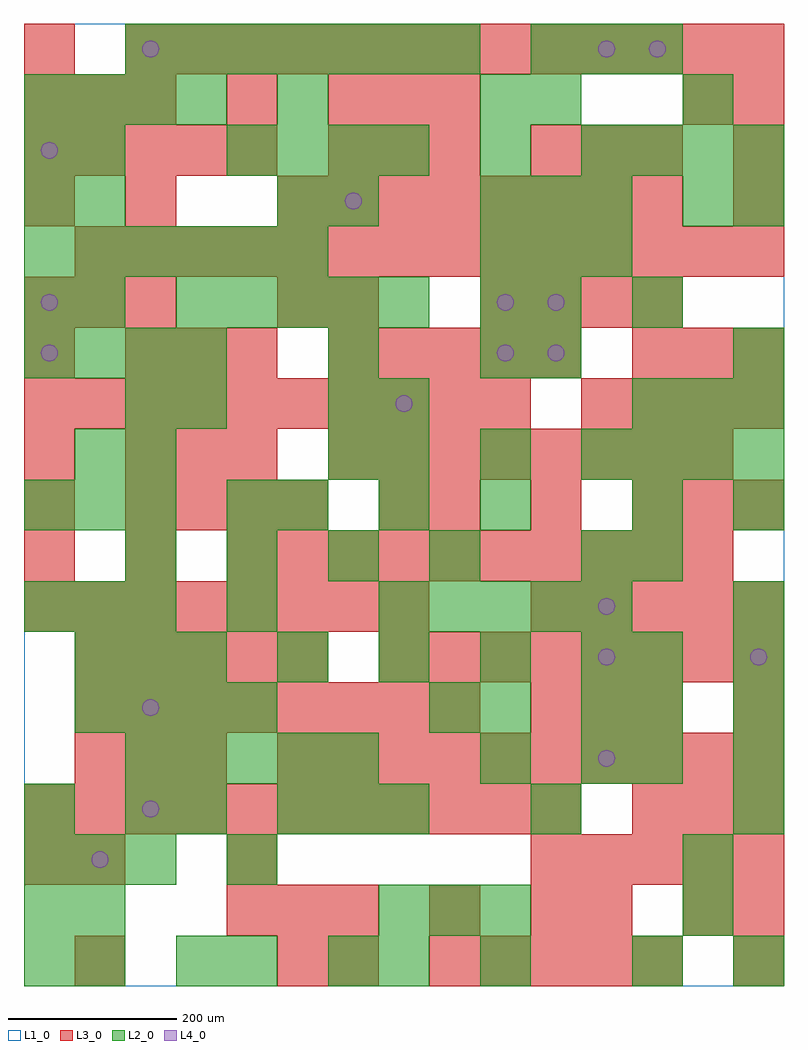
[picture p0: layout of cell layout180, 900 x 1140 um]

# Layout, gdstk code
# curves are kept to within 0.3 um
import gdstk
lib = gdstk.Library(unit=1e-6, precision=1e-09)
def R(c, l, rs):  # rectangles x0, y0, x1, y1
    for r in rs: c.add(gdstk.rectangle(r[:2], r[2:], *l))
def A(c, l, x, y, w, h, nx, ny, dx, dy):  # array of equal rectangles
    R(c, l, [(x+i*dx, y+j*dy, x+i*dx+w, y+j*dy+h) for i in range(nx) for j in range(ny)])
def P(c, l, *ps):  # polygons
    for p in ps: c.add(gdstk.Polygon(p, *l))
L1_0 = (1, 0)
L2_0 = (2, 0)
L3_0 = (3, 0)
L4_0 = (4, 0)

layout180 = lib.new_cell('layout180')
R(layout180, L1_0, [(0,0,900,1140)])
A(layout180, L2_0, 420, 60, 60, 60, 3, 1, 60, 0)
A(layout180, L2_0, 0, 120, 60, 60, 3, 2, 60, 300)
A(layout180, L2_0, 300, 180, 60, 60, 3, 1, 60, 0)
A(layout180, L2_0, 840, 180, 60, 60, 1, 5, 0, 60)
A(layout180, L2_0, 120, 240, 60, 60, 5, 1, 60, 0)
A(layout180, L2_0, 720, 240, 60, 60, 1, 3, 0, 60)
A(layout180, L2_0, 60, 300, 60, 60, 4, 1, 60, 0)
A(layout180, L2_0, 60, 360, 60, 60, 3, 1, 60, 0)
A(layout180, L2_0, 300, 360, 60, 60, 4, 1, 120, 0)
A(layout180, L2_0, 420, 420, 60, 60, 5, 1, 60, 0)
A(layout180, L2_0, 120, 480, 60, 60, 4, 1, 120, 0)
A(layout180, L2_0, 0, 540, 60, 60, 3, 1, 60, 0)
A(layout180, L2_0, 300, 540, 60, 60, 3, 1, 120, 0)
A(layout180, L2_0, 840, 540, 60, 60, 1, 3, 0, 180)
A(layout180, L2_0, 360, 600, 60, 60, 1, 3, 0, 60)
A(layout180, L2_0, 420, 600, 60, 60, 3, 1, 120, 0)
A(layout180, L2_0, 720, 600, 60, 60, 3, 2, 60, 60)
A(layout180, L2_0, 0, 720, 60, 60, 4, 2, 60, 300)
A(layout180, L2_0, 180, 780, 60, 60, 5, 1, 60, 0)
A(layout180, L2_0, 0, 840, 60, 60, 6, 1, 60, 0)
A(layout180, L2_0, 540, 840, 60, 60, 3, 2, 60, 60)
A(layout180, L2_0, 240, 960, 60, 60, 4, 1, 60, 0)
A(layout180, L2_0, 660, 960, 60, 60, 4, 1, 60, 0)
A(layout180, L2_0, 120, 1080, 60, 60, 7, 1, 60, 0)
A(layout180, L2_0, 600, 1080, 60, 60, 3, 1, 60, 0)
R(layout180, L2_0, [(0,0,60,60), (60,0,120,60), (180,0,240,60), (240,0,300,60), (360,0,420,60), (420,0,480,60), (540,0,600,60), (720,0,780,60), (840,0,900,60), (0,60,60,120), (60,60,120,120), (780,60,840,120), (240,120,300,180), (780,120,840,180), (0,180,60,240), (120,180,180,240), (180,180,240,240), (600,180,660,240), (540,240,600,300), (660,240,720,300), (480,300,540,360), (540,300,600,360), (660,300,720,360), (240,420,300,480), (660,480,720,540), (720,480,780,540), (240,540,300,600), (720,540,780,600), (60,600,120,660), (120,600,180,660), (120,660,180,720), (180,660,240,720), (420,660,480,720), (540,720,600,780), (600,720,660,780), (0,780,60,840), (60,780,120,840), (540,780,600,840), (600,780,660,840), (720,780,780,840), (0,900,60,960), (60,900,120,960), (300,900,360,960), (360,900,420,960), (780,900,840,960), (0,960,60,1020), (60,960,120,1020), (540,960,600,1020), (300,1020,360,1080), (540,1020,600,1080), (600,1020,660,1080), (780,1020,840,1080)])
A(layout180, L3_0, 480, 0, 60, 60, 5, 1, 60, 0)
A(layout180, L3_0, 240, 60, 60, 60, 3, 1, 60, 0)
A(layout180, L3_0, 780, 60, 60, 60, 1, 3, 0, 480)
A(layout180, L3_0, 840, 60, 60, 60, 1, 3, 0, 240)
A(layout180, L3_0, 600, 120, 60, 60, 5, 2, 60, 300)
A(layout180, L3_0, 0, 180, 60, 60, 11, 1, 60, 0)
A(layout180, L3_0, 720, 180, 60, 60, 3, 2, 60, 540)
A(layout180, L3_0, 60, 240, 60, 60, 3, 1, 60, 0)
A(layout180, L3_0, 300, 240, 60, 60, 10, 1, 60, 0)
A(layout180, L3_0, 60, 300, 60, 60, 8, 1, 60, 0)
A(layout180, L3_0, 600, 300, 60, 60, 3, 2, 60, 660)
A(layout180, L3_0, 60, 360, 60, 60, 5, 1, 60, 0)
A(layout180, L3_0, 420, 360, 60, 60, 8, 1, 60, 0)
A(layout180, L3_0, 0, 420, 60, 60, 8, 1, 60, 0)
A(layout180, L3_0, 0, 480, 60, 60, 3, 1, 120, 0)
A(layout180, L3_0, 300, 480, 60, 60, 9, 1, 60, 0)
A(layout180, L3_0, 120, 540, 60, 60, 4, 1, 60, 0)
A(layout180, L3_0, 480, 540, 60, 60, 3, 1, 120, 0)
A(layout180, L3_0, 120, 600, 60, 60, 3, 2, 60, 120)
A(layout180, L3_0, 360, 600, 60, 60, 8, 1, 60, 0)
A(layout180, L3_0, 0, 660, 60, 60, 10, 1, 60, 0)
A(layout180, L3_0, 660, 660, 60, 60, 4, 1, 60, 0)
A(layout180, L3_0, 0, 720, 60, 60, 1, 3, 0, 180)
A(layout180, L3_0, 360, 720, 60, 60, 5, 1, 60, 0)
A(layout180, L3_0, 0, 780, 60, 60, 3, 2, 60, 240)
A(layout180, L3_0, 540, 780, 60, 60, 4, 1, 60, 0)
A(layout180, L3_0, 60, 840, 60, 60, 14, 1, 60, 0)
A(layout180, L3_0, 300, 900, 60, 60, 8, 1, 60, 0)
A(layout180, L3_0, 840, 900, 60, 60, 1, 3, 0, 60)
A(layout180, L3_0, 0, 960, 60, 60, 5, 1, 60, 0)
A(layout180, L3_0, 360, 960, 60, 60, 3, 2, 60, 60)
A(layout180, L3_0, 120, 1080, 60, 60, 13, 1, 60, 0)
R(layout180, L3_0, [(60,0,120,60), (300,0,360,60), (360,0,420,60), (840,0,900,60), (480,60,540,120), (600,60,660,120), (660,60,720,120), (0,120,60,180), (60,120,120,180), (240,120,300,180), (0,540,60,600), (420,540,480,600), (0,600,60,660), (300,780,360,840), (360,780,420,840), (120,900,180,960), (240,1020,300,1080)])
P(layout180, L4_0, [(40,750),(39.239,753.827),(37.071,757.071),(33.827,759.239),(30,760),(26.173,759.239),(22.929,757.071),(20.761,753.827),(20,750),(20.761,746.173),(22.929,742.929),(26.173,740.761),(30,740),(33.827,740.761),(37.071,742.929),(39.239,746.173)],
  [(40,810),(39.239,813.827),(37.071,817.071),(33.827,819.239),(30,820),(26.173,819.239),(22.929,817.071),(20.761,813.827),(20,810),(20.761,806.173),(22.929,802.929),(26.173,800.761),(30,800),(33.827,800.761),(37.071,802.929),(39.239,806.173)],
  [(40,990),(39.239,993.827),(37.071,997.071),(33.827,999.239),(30,1000),(26.173,999.239),(22.929,997.071),(20.761,993.827),(20,990),(20.761,986.173),(22.929,982.929),(26.173,980.761),(30,980),(33.827,980.761),(37.071,982.929),(39.239,986.173)],
  [(100,150),(99.239,153.827),(97.071,157.071),(93.827,159.239),(90,160),(86.173,159.239),(82.929,157.071),(80.761,153.827),(80,150),(80.761,146.173),(82.929,142.929),(86.173,140.761),(90,140),(93.827,140.761),(97.071,142.929),(99.239,146.173)],
  [(160,210),(159.239,213.827),(157.071,217.071),(153.827,219.239),(150,220),(146.173,219.239),(142.929,217.071),(140.761,213.827),(140,210),(140.761,206.173),(142.929,202.929),(146.173,200.761),(150,200),(153.827,200.761),(157.071,202.929),(159.239,206.173)],
  [(160,330),(159.239,333.827),(157.071,337.071),(153.827,339.239),(150,340),(146.173,339.239),(142.929,337.071),(140.761,333.827),(140,330),(140.761,326.173),(142.929,322.929),(146.173,320.761),(150,320),(153.827,320.761),(157.071,322.929),(159.239,326.173)],
  [(160,1110),(159.239,1113.827),(157.071,1117.071),(153.827,1119.239),(150,1120),(146.173,1119.239),(142.929,1117.071),(140.761,1113.827),(140,1110),(140.761,1106.173),(142.929,1102.929),(146.173,1100.761),(150,1100),(153.827,1100.761),(157.071,1102.929),(159.239,1106.173)],
  [(400,930),(399.239,933.827),(397.071,937.071),(393.827,939.239),(390,940),(386.173,939.239),(382.929,937.071),(380.761,933.827),(380,930),(380.761,926.173),(382.929,922.929),(386.173,920.761),(390,920),(393.827,920.761),(397.071,922.929),(399.239,926.173)],
  [(460,690),(459.239,693.827),(457.071,697.071),(453.827,699.239),(450,700),(446.173,699.239),(442.929,697.071),(440.761,693.827),(440,690),(440.761,686.173),(442.929,682.929),(446.173,680.761),(450,680),(453.827,680.761),(457.071,682.929),(459.239,686.173)],
  [(580,750),(579.239,753.827),(577.071,757.071),(573.827,759.239),(570,760),(566.173,759.239),(562.929,757.071),(560.761,753.827),(560,750),(560.761,746.173),(562.929,742.929),(566.173,740.761),(570,740),(573.827,740.761),(577.071,742.929),(579.239,746.173)],
  [(580,810),(579.239,813.827),(577.071,817.071),(573.827,819.239),(570,820),(566.173,819.239),(562.929,817.071),(560.761,813.827),(560,810),(560.761,806.173),(562.929,802.929),(566.173,800.761),(570,800),(573.827,800.761),(577.071,802.929),(579.239,806.173)],
  [(640,750),(639.239,753.827),(637.071,757.071),(633.827,759.239),(630,760),(626.173,759.239),(622.929,757.071),(620.761,753.827),(620,750),(620.761,746.173),(622.929,742.929),(626.173,740.761),(630,740),(633.827,740.761),(637.071,742.929),(639.239,746.173)],
  [(640,810),(639.239,813.827),(637.071,817.071),(633.827,819.239),(630,820),(626.173,819.239),(622.929,817.071),(620.761,813.827),(620,810),(620.761,806.173),(622.929,802.929),(626.173,800.761),(630,800),(633.827,800.761),(637.071,802.929),(639.239,806.173)],
  [(700,270),(699.239,273.827),(697.071,277.071),(693.827,279.239),(690,280),(686.173,279.239),(682.929,277.071),(680.761,273.827),(680,270),(680.761,266.173),(682.929,262.929),(686.173,260.761),(690,260),(693.827,260.761),(697.071,262.929),(699.239,266.173)],
  [(700,390),(699.239,393.827),(697.071,397.071),(693.827,399.239),(690,400),(686.173,399.239),(682.929,397.071),(680.761,393.827),(680,390),(680.761,386.173),(682.929,382.929),(686.173,380.761),(690,380),(693.827,380.761),(697.071,382.929),(699.239,386.173)],
  [(700,450),(699.239,453.827),(697.071,457.071),(693.827,459.239),(690,460),(686.173,459.239),(682.929,457.071),(680.761,453.827),(680,450),(680.761,446.173),(682.929,442.929),(686.173,440.761),(690,440),(693.827,440.761),(697.071,442.929),(699.239,446.173)],
  [(700,1110),(699.239,1113.827),(697.071,1117.071),(693.827,1119.239),(690,1120),(686.173,1119.239),(682.929,1117.071),(680.761,1113.827),(680,1110),(680.761,1106.173),(682.929,1102.929),(686.173,1100.761),(690,1100),(693.827,1100.761),(697.071,1102.929),(699.239,1106.173)],
  [(760,1110),(759.239,1113.827),(757.071,1117.071),(753.827,1119.239),(750,1120),(746.173,1119.239),(742.929,1117.071),(740.761,1113.827),(740,1110),(740.761,1106.173),(742.929,1102.929),(746.173,1100.761),(750,1100),(753.827,1100.761),(757.071,1102.929),(759.239,1106.173)],
  [(880,390),(879.239,393.827),(877.071,397.071),(873.827,399.239),(870,400),(866.173,399.239),(862.929,397.071),(860.761,393.827),(860,390),(860.761,386.173),(862.929,382.929),(866.173,380.761),(870,380),(873.827,380.761),(877.071,382.929),(879.239,386.173)])

lib.write_gds('layout180.gds')
